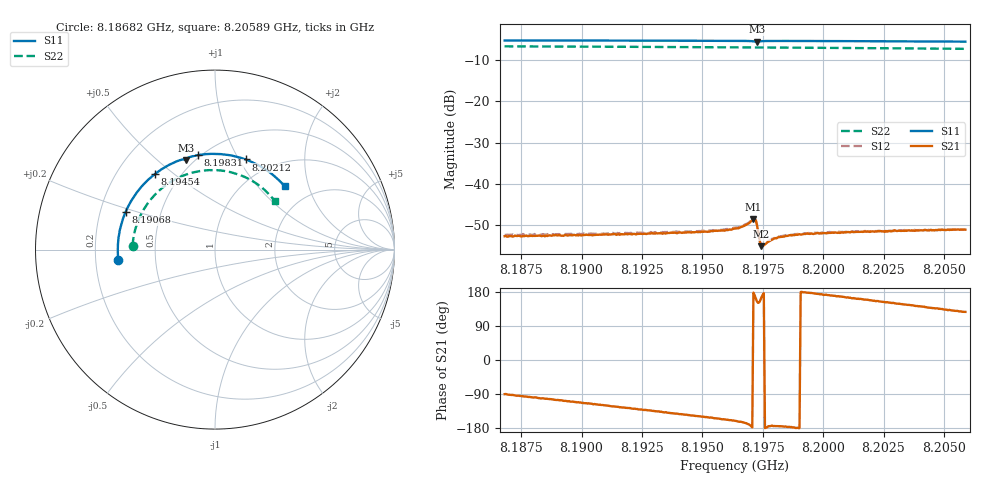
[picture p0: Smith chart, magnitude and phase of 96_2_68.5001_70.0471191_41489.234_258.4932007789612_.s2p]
#  HZ  S  RI  R  50.00
! Rohde & Schwarz Vector Network Analyzer
! Rohde-Schwarz,ZNB20-2Port,1311601062101988,3.16
! Created: UTC 3/20/2024, 5:08:00 PM
! freq[Hz]  re:S11  im:S11  re:S21  im:S21  re:S12  im:S12  re:S22  im:S22
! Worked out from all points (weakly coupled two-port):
!   401 points, 8.18682 GHz to 8.20589 GHz, reference 50 ohm
!   highest |S21| = -48.53 dB at 8.19712 GHz (marker M1); lowest = -55.1 dB at 8.19745 GHz (marker M2)
!   lowest |S11| = -5.6 dB at 8.19726 GHz (marker M3), VSWR 3.20, Z = 22.7 + j31.1 ohm
!   |S11| at or under -10 dB: nowhere
!   |S22| runs from -7.3 to -6.7 dB; largest |S21 - S12| = 0.0002
!   S11 on the Smith chart (normalised r, x): 8.18682 GHz: 0.30, -0.05; 8.19068 GHz: 0.31, +0.18; 8.19454 GHz: 0.36, +0.43; 8.19831 GHz: 0.48, +0.71; 8.20212 GHz: 0.76, +1.07; 8.20589 GHz: 1.45, +1.41
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8.186817e9  -0.5392 -0.0555  -4.78e-06 -0.00233  -3.39e-05 -0.00242  -0.4595 0.0217
8.188391e9  -0.5387 0.0545  -0.000445 -0.0023  -0.00051 -0.00241  -0.4455 0.1079
8.190012e9  -0.515 0.1653  -0.000938 -0.00219  -0.00104 -0.00225  -0.414 0.1923
8.190679e9  -0.4985 0.209  -0.00113 -0.00214  -0.0012 -0.0022  -0.3963 0.2249
8.193206e9  -0.4032 0.3578  -0.00181 -0.00178  -0.00193 -0.00174  -0.3066 0.3327
8.194541e9  -0.3343 0.4217  -0.00215 -0.00143  -0.00226 -0.00139  -0.2466 0.377
8.195543e9  -0.2757 0.4612  -0.00243 -0.00119  -0.00248 -0.00113  -0.1972 0.4035
8.196353e9  -0.224 0.4872  -0.00272 -0.000963  -0.00283 -0.000875  -0.1548 0.4201
8.196735e9  -0.1976 0.4975  -0.00301 -0.00078  -0.00311 -0.000703  -0.1341 0.4265
8.197116e9  -0.1681 0.5016  -0.00374 0.000158  -0.0038 0.000316  -0.1132 0.4317
8.197164e9  -0.165 0.5003  -0.0037 0.000571  -0.00376 0.000768  -0.1107 0.4322
8.197211e9  -0.1632 0.4985  -0.00347 0.00107  -0.00348 0.00121  -0.1081 0.4328
8.197259e9  -0.1632 0.4975  -0.00291 0.00138  -0.00292 0.00152  -0.1054 0.4335
8.197402e9  -0.1611 0.5045  -0.00174 0.000707  -0.00175 0.000775  -0.0978 0.435
8.19745e9  -0.1581 0.5072  -0.00171 0.000441  -0.0017 0.000527  -0.0952 0.4356
8.197545e9  -0.1514 0.5113  -0.0018 0.000114  -0.00184 0.00018  -0.0898 0.4367
8.197927e9  -0.1235 0.5203  -0.00213 -0.000209  -0.00218 -0.000145  -0.0684 0.4398
8.198308e9  -0.0962 0.526  -0.0023 -0.000195  -0.00234 -9.89e-05  -0.0468 0.442
8.199548e9  -0.00833 0.5335  -0.00249 0.000145  -0.00253 0.000288  0.0234 0.4415
8.202122e9  0.1702 0.5024  -0.00242 0.00106  -0.00241 0.00119  0.165 0.4047
8.202742e9  0.2108 0.4858  -0.00236 0.00128  -0.00234 0.00137  0.1971 0.3889
8.205889e9  0.388 0.3531  -0.00168 0.00223  -0.00158 0.00234  0.3341 0.2694
